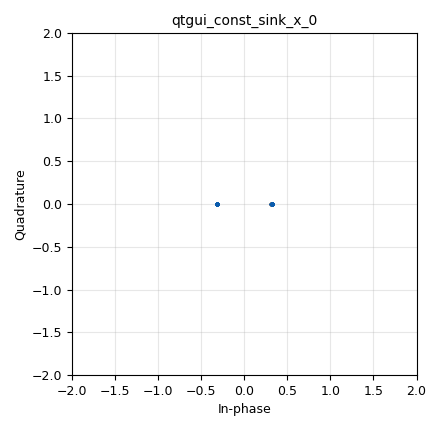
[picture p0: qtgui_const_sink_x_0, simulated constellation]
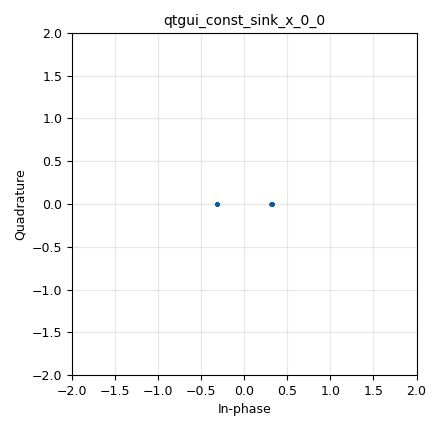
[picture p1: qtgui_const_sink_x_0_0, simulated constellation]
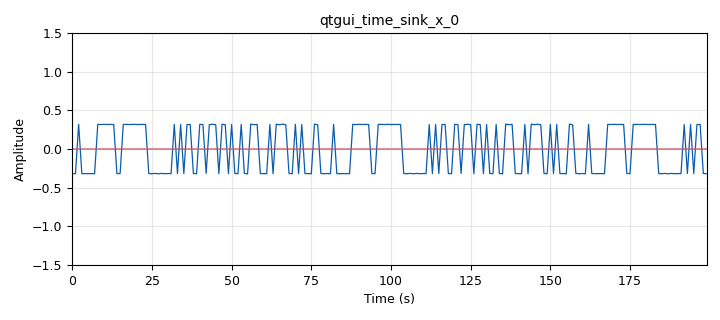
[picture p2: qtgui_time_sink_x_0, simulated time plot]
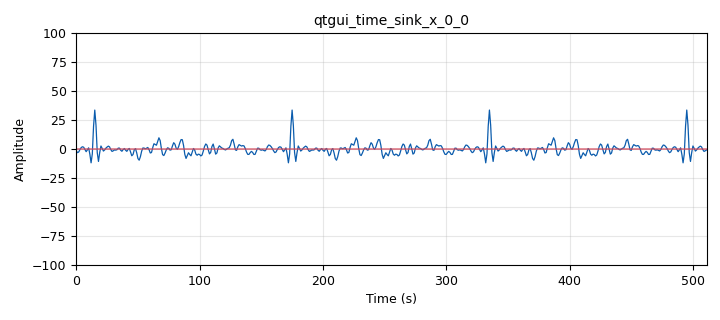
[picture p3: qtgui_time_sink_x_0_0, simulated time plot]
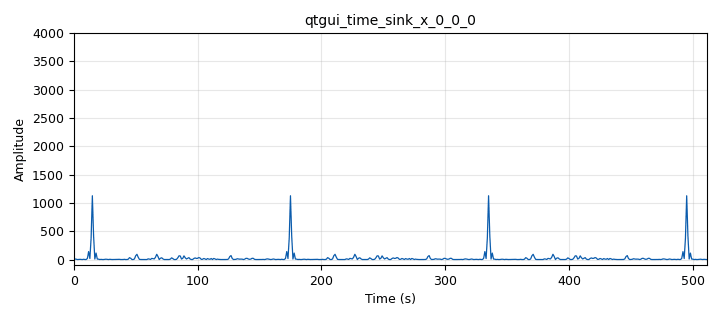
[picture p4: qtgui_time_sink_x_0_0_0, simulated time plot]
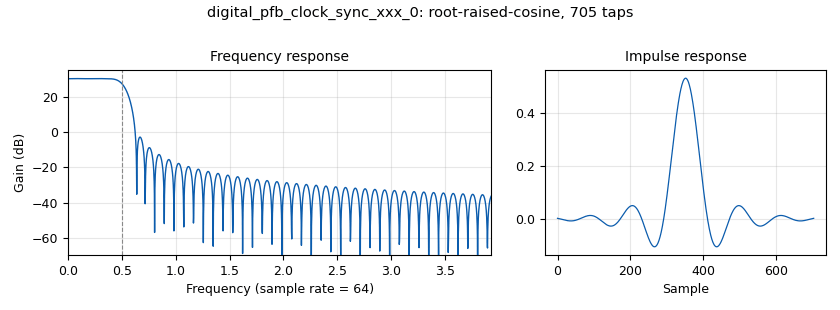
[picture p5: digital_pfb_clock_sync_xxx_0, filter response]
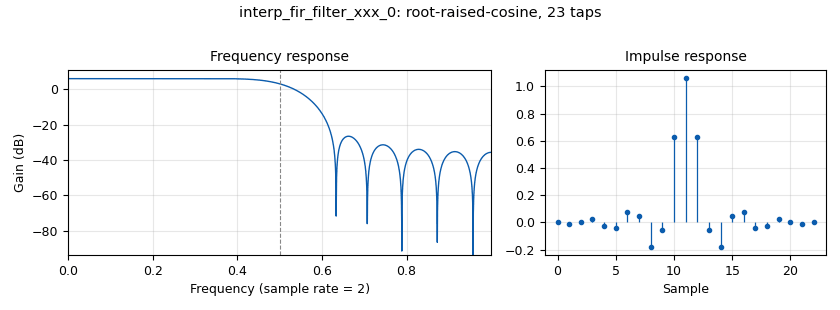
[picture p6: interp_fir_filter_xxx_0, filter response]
options:
  parameters:
    category: Custom
    generate_options: qt_gui
    id: example_corr_est_and_phase_sync
    output_language: python
  states: {}

blocks:
- name: ac
  id: variable
  parameters:
    value: 'list(map(lambda x: int(x), list(digital.packet_utils.default_access_code)))'
  states: {}
- name: ac_hex
  id: variable
  parameters:
    value: '[0xac, 0xdd, 0xa4, 0xe2, 0xf2, 0x8c, 0x20, 0xfc]'
  states: {}
- name: eb
  id: variable
  parameters:
    value: '0.22'
  states: {}
- name: filt_delay
  id: variable
  parameters:
    value: 1+(len(rrc_taps)-1)//2
  states: {}
- name: freq_off
  id: variable_qtgui_range
  parameters:
    gui_hint: 1,0,1,1
    label: Freq. Off.
    orient: QtCore.Qt.Orientation.Horizontal
    start: '-0.25'
    step: '0.0001'
    stop: '0.25'
    value: '0'
  states: {}
- name: hdr_const
  id: variable_constellation
  parameters:
    const_points: digital.psk_2()[0]
    dims: '1'
    normalization: digital.constellation.AMPLITUDE_NORMALIZATION
    precision: '8'
    rot_sym: '2'
    soft_dec_lut: '''auto'''
    sym_map: digital.psk_2()[1]
    type: calcdist
  states: {}
- name: mark_delay
  id: variable
  parameters:
    value: mark_delays[sps]
  states: {}
- name: mark_delays
  id: variable
  parameters:
    comment: |-
      Tag Marking Delay for 
      Corr Est block, indexed
      by sps.

      Found empirically.
    value: '[0, 0, 34, 56, 87, 119]'
  states: {}
- name: modulated_sync_word
  id: variable_modulate_vector
  parameters:
    data: ac_hex
    mod: rxmod
    taps: '[1]'
  states: {}
- name: nfilts
  id: variable
  parameters:
    value: '32'
  states: {}
- name: noise
  id: variable_qtgui_range
  parameters:
    gui_hint: 0,1,1,1
    label: Noise Power
    orient: QtCore.Qt.Orientation.Horizontal
    start: '-50'
    step: '1'
    stop: '10'
    value: '-50'
  states: {}
- name: path_loss
  id: variable_qtgui_range
  parameters:
    gui_hint: 0,0,1,1
    label: Path Loss (dB)
    orient: QtCore.Qt.Orientation.Horizontal
    start: '0'
    step: '5'
    stop: '140'
    value: '10'
  states: {}
- name: rrc_taps
  id: variable_rrc_filter_taps
  parameters:
    alpha: eb
    gain: sps
    ntaps: 11*sps
    samp_rate: sps
    sym_rate: '1.0'
  states: {}
- name: rx_psf_taps
  id: variable_rrc_filter_taps
  parameters:
    alpha: eb
    gain: nfilts
    ntaps: 11*sps*nfilts
    samp_rate: sps*nfilts
    sym_rate: '1.0'
  states: {}
- name: rxmod
  id: variable
  parameters:
    value: digital.generic_mod(hdr_const, False, sps, True, eb, False, False)
  states: {}
- name: samp_rate
  id: variable
  parameters:
    value: 10e3
  states: {}
- name: sps
  id: variable
  parameters:
    value: '2'
  states: {}
- name: time_off
  id: variable_qtgui_range
  parameters:
    gui_hint: 1,1,1,1
    label: Time Off.
    orient: QtCore.Qt.Orientation.Horizontal
    start: '0.9999'
    step: '0.00001'
    stop: '1.0001'
    value: '1.0'
  states: {}
- name: blocks_add_const_vxx_0
  id: blocks_add_const_vxx
  parameters:
    const: '-1'
    type: complex
  states: {}
- name: blocks_complex_to_mag_squared_0
  id: blocks_complex_to_mag_squared
  parameters: {}
  states: {}
- name: blocks_multiply_const_vxx_0
  id: blocks_multiply_const_vxx
  parameters:
    const: '2'
    type: complex
  states: {}
- name: blocks_stream_to_tagged_stream_0
  id: blocks_stream_to_tagged_stream
  parameters:
    len_tag_key: '"packet_len"'
    packet_len: len(ac)+16
    type: complex
  states: {}
- name: blocks_throttle_0
  id: blocks_throttle
  parameters:
    samples_per_second: samp_rate
    type: complex
  states: {}
- name: blocks_vector_source_x_0
  id: blocks_vector_source_x
  parameters:
    repeat: 'True'
    type: complex
    vector: '[1,1,1,1,1,1,1,1,0,0,0,0,0,0,0,0] + ac'
  states: {}
- name: channels_channel_model_0
  id: channels_channel_model
  parameters:
    block_tags: 'True'
    epsilon: time_off
    freq_offset: freq_off
    noise_voltage: sps * 10.0**(noise/10.0)
    seed: '0'
    taps: 10.0**(-path_loss/20.0)
  states: {}
- name: digital_corr_est_cc_0
  id: digital_corr_est_cc
  parameters:
    mark_delay: mark_delay
    sps: sps
    symbols: modulated_sync_word
    threshold: '0.999'
    threshold_method: digital.THRESHOLD_DYNAMIC
  states: {}
- name: digital_costas_loop_cc_0_0
  id: digital_costas_loop_cc
  parameters:
    order: hdr_const.arity()
    w: 6.28/100.0
  states: {}
- name: digital_pfb_clock_sync_xxx_0
  id: digital_pfb_clock_sync_xxx
  parameters:
    filter_size: nfilts
    init_phase: nfilts/2
    loop_bw: 6.28/400.0
    max_dev: '1.5'
    osps: '1'
    sps: sps
    taps: rx_psf_taps
    type: ccf
  states: {}
- name: interp_fir_filter_xxx_0
  id: interp_fir_filter_xxx
  parameters:
    interp: sps
    samp_delay: filt_delay
    taps: rrc_taps
    type: ccc
  states: {}
- name: qtgui_const_sink_x_0
  id: qtgui_const_sink_x
  parameters:
    gui_hint: 'tab1@1: 0,1,1,1'
    legend: 'False'
    size: '512'
    type: complex
  states: {}
- name: qtgui_const_sink_x_0_0
  id: qtgui_const_sink_x
  parameters:
    gui_hint: 'tab1@1: 0,0,1,1'
    legend: 'False'
    size: '512'
    type: complex
  states: {}
- name: qtgui_time_sink_x_0
  id: qtgui_time_sink_x
  parameters:
    gui_hint: tab1@0
    label1: ''
    label2: ''
    legend: 'False'
    size: '200'
    srate: '1'
    tr_delay: '15'
    tr_mode: qtgui.TRIG_MODE_TAG
    tr_tag: corr_start
    type: complex
    ymax: '1.5'
    ymin: '-1.5'
  states: {}
- name: qtgui_time_sink_x_0_0
  id: qtgui_time_sink_x
  parameters:
    gui_hint: tab0@0
    label1: ''
    label2: ''
    legend: 'False'
    size: '512'
    srate: '1'
    tr_delay: '15'
    tr_level: '0'
    tr_mode: qtgui.TRIG_MODE_TAG
    tr_tag: corr_est
    type: complex
    ymax: '100'
    ymin: '-100'
  states: {}
- name: qtgui_time_sink_x_0_0_0
  id: qtgui_time_sink_x
  parameters:
    gui_hint: tab0@1
    label1: ''
    legend: 'False'
    size: '512'
    srate: '1'
    tr_delay: '15'
    tr_level: '0'
    tr_mode: qtgui.TRIG_MODE_TAG
    tr_tag: corr_est
    type: float
    ymax: '4000'
    ymin: '-100'
  states: {}
- name: tab0
  id: qtgui_tab_widget
  parameters:
    label0: Corr
    label1: '|Corr|^2'
    num_tabs: '2'
  states: {}
- name: tab1
  id: qtgui_tab_widget
  parameters:
    gui_hint: 2,0,1,2
    label0: Time
    label1: Const.
    num_tabs: '2'
  states: {}

connections:
- [blocks_add_const_vxx_0, '0', blocks_throttle_0, '0']
- [blocks_complex_to_mag_squared_0, '0', qtgui_time_sink_x_0_0_0, '0']
- [blocks_multiply_const_vxx_0, '0', blocks_add_const_vxx_0, '0']
- [blocks_stream_to_tagged_stream_0, '0', interp_fir_filter_xxx_0, '0']
- [blocks_throttle_0, '0', blocks_stream_to_tagged_stream_0, '0']
- [blocks_vector_source_x_0, '0', blocks_multiply_const_vxx_0, '0']
- [channels_channel_model_0, '0', digital_corr_est_cc_0, '0']
- [digital_corr_est_cc_0, '0', digital_pfb_clock_sync_xxx_0, '0']
- [digital_corr_est_cc_0, '1', blocks_complex_to_mag_squared_0, '0']
- [digital_corr_est_cc_0, '1', qtgui_time_sink_x_0_0, '0']
- [digital_costas_loop_cc_0_0, '0', qtgui_const_sink_x_0, '0']
- [digital_costas_loop_cc_0_0, '0', qtgui_time_sink_x_0, '0']
- [digital_pfb_clock_sync_xxx_0, '0', digital_costas_loop_cc_0_0, '0']
- [digital_pfb_clock_sync_xxx_0, '0', qtgui_const_sink_x_0_0, '0']
- [interp_fir_filter_xxx_0, '0', channels_channel_model_0, '0']

metadata:
  file_format: 1
  grc_version: v3.11.0.0git-34-g95ee7221
